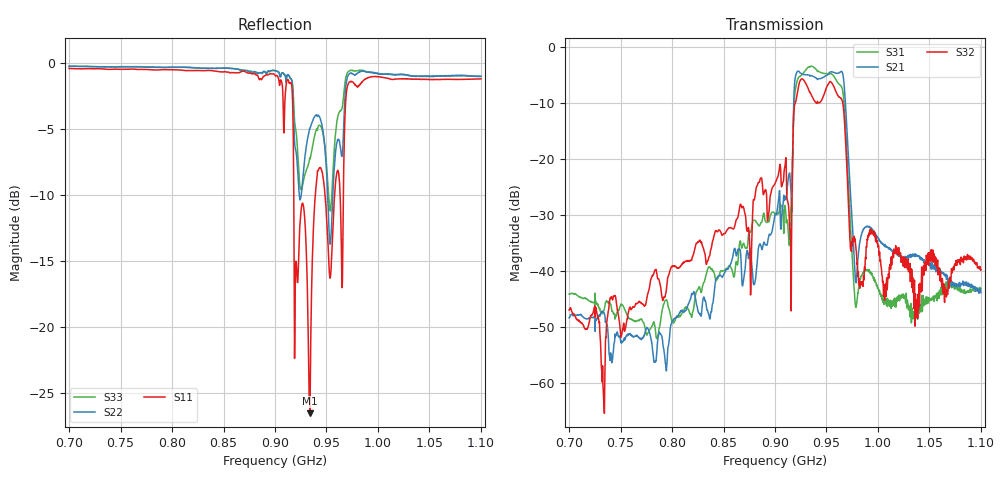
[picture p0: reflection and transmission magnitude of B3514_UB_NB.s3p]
! Matrix data file written by TouchstoneData, EPCOS AG
! FILENAME: "LQ71A_UB_2_NB.s3p_newformat"
! COMMENT: "(LQ71A_UB_2_NB.s3p) EPCOS AG 18.03.2009 15:2"
! INFO: nport=3, nfreq=1601
! DATE: "Thu Apr  2 14:33:22 2009"
! USER: "Michael Schemies"
! port | pin | signal
!  1  |  6  |  input
!  2  |  3  |  output
!  3  |  4  |  output
# MHZ S MA R 50
! freq  magS11 angS11  magS12 angS12  magS13 angS13  ...
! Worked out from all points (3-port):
!   1601 points, 700 MHz to 1.1 GHz, reference 50 ohm
!   strongest paths, dB at 700 MHz, 800 MHz, 900 MHz, 1 GHz, 1.1 GHz:
!     S32: -46.9, -39.0, -24.3, -35.6, -39.7
!     S21: -48.3, -49.0, -29.9, -34.0, -43.8
!     S31: -44.0, -49.0, -29.8, -43.1, -43.1
!   lowest |S11| = -26.6 dB at 934 MHz (marker M1), VSWR 1.10, Z = 54.9 + j0.726 ohm
!   |S11| at or under -10 dB: 918.3 MHz to 939.2 MHz (20.93 MHz wide, 2.25 % of centre); 948.6 MHz to 957.9 MHz (9.313 MHz wide, 0.977 % of centre); 963.2246 MHz to 966.4071 MHz (3.182 MHz wide, 0.33 % of centre)
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700  0.9529 -85.0  0.003815 45.7  0.006305 38.9
     0.003853 46.2  0.9709 -55.0  0.004476 88.4
     0.006301 38.9  0.004523 88.3  0.9718 -55.8
733  0.9494 -89.6  0.004372 38.7  0.004324 54.6
     0.004386 39.0  0.9671 -58.3  0.0009449 101.4
     0.004348 54.6  0.0009232 102.6  0.9684 -59.1
794  0.943 -98.7  0.001416 113.2  0.005513 104.5
     0.001425 114.0  0.9622 -65.1  0.006439 -173.9
     0.005525 104.5  0.006439 -173.8  0.9616 -66.2
900  0.8987 -143.6  0.03205 126.7  0.03255 133.6
     0.03202 126.9  0.9359 -101.9  0.0607 155.9
     0.03254 133.5  0.06065 155.8  0.9352 -104.3
916  0.8339 159.0  0.04278 104.2  0.04474 76.6
     0.04282 104.2  0.8635 -158.7  0.01579 -89.8
     0.04464 76.7  0.01576 -89.7  0.8671 -160.1
934  0.04694 8.1  0.5526 -96.4  0.6654 84.5
     0.5532 -96.3  0.5651 -36.5  0.3967 -29.3
     0.6656 84.6  0.3967 -29.2  0.4331 -35.4
951.75  0.1954 164.5  0.5708 136.8  0.5789 -37.8
        0.5722 136.8  0.2762 -167.9  0.4669 161.5
        0.5787 -37.7  0.4657 161.5  0.3274 -157.5
965.25  0.1406 -10.9  0.6012 2.7  0.4307 -176.2
        0.6014 2.7  0.4424 4.4  0.3363 7.3
        0.4303 -176.2  0.3357 7.3  0.6761 3.5
978.75  0.8195 -52.7  0.007949 -4.5  0.004791 173.3
        0.007924 -4.7  0.9067 -28.3  0.01554 -5.4
        0.004789 173.1  0.0155 -5.5  0.9321 -31.5
1100  0.8705 -100.8  0.006448 52.6  0.007004 106.6
      0.006469 52.6  0.8906 -65.8  0.01037 147.1
      0.006998 106.4  0.01036 147.0  0.8891 -67.6
